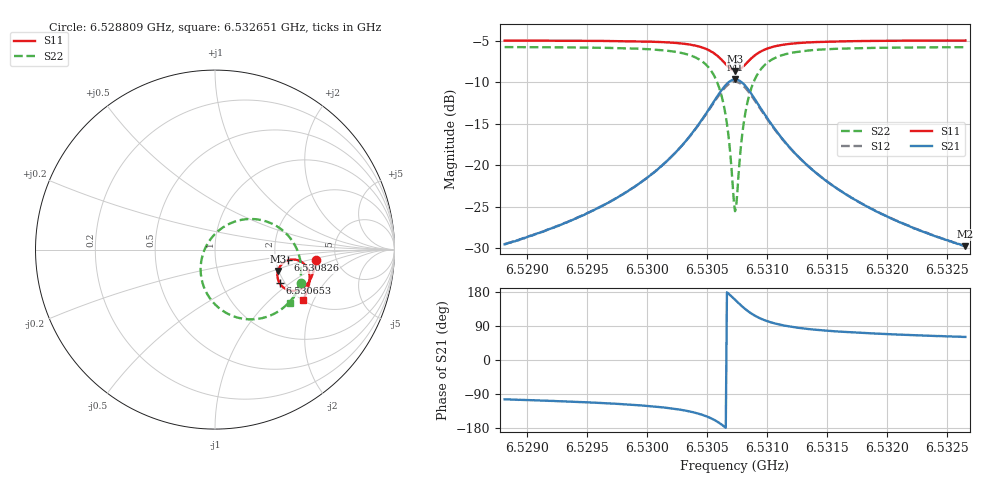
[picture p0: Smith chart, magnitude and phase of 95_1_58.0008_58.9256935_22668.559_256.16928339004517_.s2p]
#  HZ  S  RI  R  50.00
! Rohde & Schwarz Vector Network Analyzer
! Rohde-Schwarz,ZNB20-2Port,1311601062101988,3.16
! Created: UTC 3/21/2024, 12:54:27 AM
! freq[Hz]  re:S11  im:S11  re:S21  im:S21  re:S12  im:S12  re:S22  im:S22
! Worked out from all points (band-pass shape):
!   401 points, 6.528809 GHz to 6.532651 GHz, reference 50 ohm
!   highest |S21| = -9.67 dB at 6.53073 GHz (marker M1); lowest = -29.8 dB at 6.532651 GHz (marker M2)
!   |S21| within 3 dB of the highest: 6.530539 GHz to 6.530924 GHz (384.8 kHz wide, 0.00589 % of centre)
!   lowest |S11| = -8.6 dB at 6.53073 GHz (marker M3), VSWR 2.18, Z = 98.9 - j27.4 ohm
!   |S11| at or under -10 dB: nowhere
!   |S22| runs from -25.6 to -5.8 dB; largest |S21 - S12| = 0.014
!   S11 on the Smith chart (normalised r, x): 6.528809 GHz: 3.48, -0.57; 6.530653 GHz: 1.88, -0.85; 6.530826 GHz: 2.35, -0.33; 6.532651 GHz: 2.01, -1.66
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6.5288093e9  0.5608 -0.0557  -0.00797 -0.0323  -0.00868 -0.0323  0.4808 -0.1852
6.5294528e9  0.5513 -0.1105  -0.018 -0.0462  -0.019 -0.0458  0.4485 -0.2475
6.5298082e9  0.5406 -0.145  -0.0304 -0.0604  -0.032 -0.0597  0.4151 -0.2913
6.5300963e9  0.5237 -0.1781  -0.0535 -0.0796  -0.0558 -0.0779  0.3629 -0.3375
6.5303268e9  0.4945 -0.2102  -0.0986 -0.1017  -0.1017 -0.0981  0.2717 -0.3795
6.5304901e9  0.4467 -0.2293  -0.1747 -0.1076  -0.1772 -0.1  0.1323 -0.3804
6.5305862e9  0.3974 -0.221  -0.2515 -0.0749  -0.2499 -0.0641  0.0052 -0.3101
6.5306246e9  0.3752 -0.2058  -0.2842 -0.0418  -0.2796 -0.0303  -0.0434 -0.2475
6.5306534e9  0.3605 -0.1879  -0.3045 -0.00641  -0.297 0.0044  -0.0699 -0.1845
6.5306822e9  0.3505 -0.1647  -0.3163 0.0371  -0.3061 0.0461  -0.0802 -0.1101
6.5307206e9  0.3486 -0.1287  -0.312 0.1018  -0.2996 0.1068  -0.0603 -0.0052
6.5307302e9  0.3505 -0.1196  -0.3068 0.1178  -0.2944 0.1217  -0.0489 0.0198
6.5307494e9  0.3572 -0.1022  -0.292 0.1475  -0.2796 0.1493  -0.0189 0.0656
6.5307879e9  0.3795 -0.0746  -0.2483 0.1945  -0.2379 0.1926  0.0613 0.1342
6.5308263e9  0.4081 -0.0592  -0.1963 0.22  -0.1888 0.2162  0.1515 0.1666
6.5308935e9  0.4545 -0.0573  -0.1157 0.2234  -0.1119 0.2196  0.287 0.1566
6.5309896e9  0.4956 -0.0791  -0.0458 0.1909  -0.0442 0.189  0.4001 0.0858
6.5311336e9  0.5201 -0.1158  -0.00333 0.1417  -0.00219 0.1408  0.4629 -0.0147
6.5313738e9  0.5276 -0.1599  0.0151 0.0928  0.0163 0.0925  0.4798 -0.1169
6.5316523e9  0.5234 -0.1952  0.0185 0.0643  0.0195 0.0641  0.4713 -0.183
6.5320173e9  0.513 -0.2306  0.018 0.0448  0.0189 0.0445  0.4532 -0.2365
6.5326512e9  0.4906 -0.2804  0.0158 0.0284  0.0164 0.0281  0.4205 -0.2966
